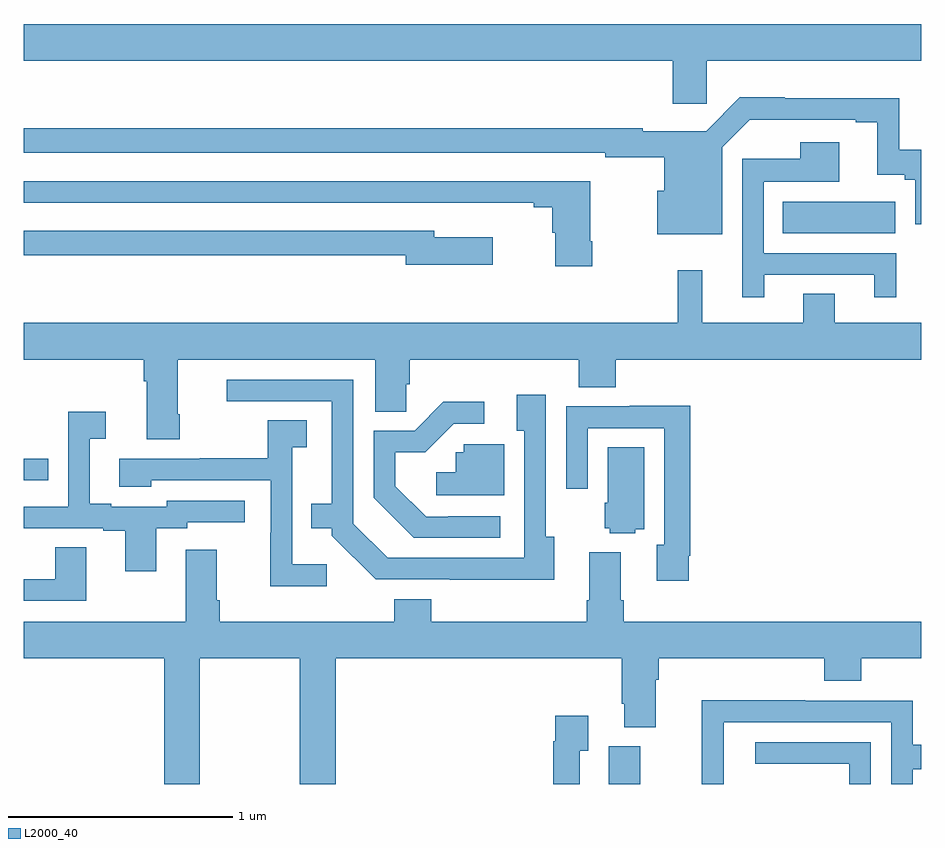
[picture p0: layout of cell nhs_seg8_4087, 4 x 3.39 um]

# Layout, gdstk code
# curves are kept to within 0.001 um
import gdstk
lib = gdstk.Library(unit=1e-6, precision=1e-09)
def R(c, l, rs):  # rectangles x0, y0, x1, y1
    for r in rs: c.add(gdstk.rectangle(r[:2], r[2:], *l))
def P(c, l, *ps):  # polygons
    for p in ps: c.add(gdstk.Polygon(p, *l))
L2000_40 = (2000, 40)

nhs_seg8_4087 = lib.new_cell('nhs_seg8_4087')
R(nhs_seg8_4087, L2000_40, [(363.608,1155.9,363.748,1156.068), (361,1157.254,361.108,1157.349), (364.384,1158.356,364.885,1158.496)])
P(nhs_seg8_4087, L2000_40, [(364.044,1159.124),(365,1159.124),(365,1159.288),(361,1159.288),(361,1159.124),(363.893,1159.124),(363.893,1158.933),(364.044,1158.933)],
  [(364.114,1158.739),(364.236,1158.861),(364.709,1158.861),(364.709,1158.849),(364.805,1158.849),(364.805,1158.617),(364.926,1158.617),(364.926,1158.593),(364.974,1158.593),(364.974,1158.396),(365,1158.396),(365,1158.727),(364.903,1158.727),(364.903,1158.958),(364.391,1158.958),(364.391,1158.961),(364.192,1158.961),(364.042,1158.811),(363.758,1158.811),(363.758,1158.823),(361,1158.823),(361,1158.714),(363.592,1158.714),(363.592,1158.694),(363.854,1158.694),(363.854,1158.544),(363.824,1158.544),(363.824,1158.35),(364.114,1158.35)],
  [(364.3,1158.171),(364.79,1158.171),(364.79,1158.069),(364.888,1158.069),(364.888,1158.267),(364.299,1158.267),(364.299,1158.584),(364.636,1158.584),(364.636,1158.76),(364.46,1158.76),(364.46,1158.688),(364.203,1158.688),(364.203,1158.069),(364.3,1158.069)],
  [(363.534,1158.319),(363.526,1158.319),(363.526,1158.588),(361,1158.588),(361,1158.492),(362.926,1158.492),(362.926,1158.491),(363.272,1158.491),(363.272,1158.472),(363.356,1158.472),(363.356,1158.357),(363.368,1158.357),(363.368,1158.207),(363.534,1158.207)],
  [(363.091,1158.337),(362.83,1158.337),(362.83,1158.366),(361,1158.366),(361,1158.258),(362.702,1158.258),(362.702,1158.215),(363.091,1158.215)],
  [(361.695,1157.548),(361.687,1157.548),(361.687,1157.792),(362.567,1157.792),(362.567,1157.56),(362.705,1157.56),(362.705,1157.682),(362.72,1157.682),(362.72,1157.792),(363.473,1157.792),(363.473,1157.668),(363.638,1157.668),(363.638,1157.792),(365,1157.792),(365,1157.956),(364.615,1157.956),(364.615,1158.086),(364.475,1158.086),(364.475,1157.956),(364.025,1157.956),(364.025,1158.19),(363.915,1158.19),(363.915,1157.956),(361,1157.956),(361,1157.792),(361.535,1157.792),(361.535,1157.696),(361.547,1157.696),(361.547,1157.436),(361.695,1157.436)],
  [(363.364,1157.002),(363.327,1157.002),(363.327,1157.635),(363.197,1157.635),(363.197,1157.474),(363.231,1157.474),(363.231,1156.908),(362.622,1156.908),(362.469,1157.061),(362.469,1157.703),(361.905,1157.703),(361.905,1157.607),(362.372,1157.607),(362.372,1157.149),(362.281,1157.149),(362.281,1157.039),(362.373,1157.039),(362.373,1157.007),(362.568,1156.812),(363.364,1156.811)],
  [(363.124,1157.094),(362.893,1157.094),(362.893,1157.091),(362.793,1157.091),(362.656,1157.228),(362.656,1157.378),(362.789,1157.378),(362.916,1157.505),(363.052,1157.505),(363.052,1157.603),(362.87,1157.603),(362.742,1157.475),(362.559,1157.475),(362.559,1157.177),(362.738,1156.998),(363.124,1156.998)],
  [(363.964,1156.918),(363.971,1156.918),(363.971,1157.587),(363.701,1157.587),(363.701,1157.583),(363.417,1157.583),(363.417,1157.217),(363.513,1157.217),(363.513,1157.487),(363.855,1157.487),(363.855,1156.967),(363.821,1156.967),(363.821,1156.806),(363.964,1156.806)],
  [(361.591,1157.04),(361.728,1157.04),(361.728,1157.067),(361.984,1157.067),(361.984,1157.163),(361.638,1157.163),(361.638,1157.136),(361.39,1157.136),(361.39,1157.149),(361.294,1157.149),(361.294,1157.44),(361.366,1157.44),(361.366,1157.56),(361.197,1157.56),(361.197,1157.136),(361,1157.136),(361,1157.04),(361.355,1157.04),(361.355,1157.028),(361.451,1157.028),(361.451,1156.848),(361.591,1156.848)],
  [(362.35,1156.879),(362.196,1156.879),(362.196,1157.401),(362.26,1157.401),(362.26,1157.522),(362.088,1157.522),(362.088,1157.352),(361.783,1157.352),(361.783,1157.349),(361.425,1157.349),(361.425,1157.225),(361.569,1157.225),(361.569,1157.253),(362.1,1157.253),(362.1,1157.021),(362.098,1157.021),(362.098,1156.781),(362.35,1156.781)],
  [(363.142,1157.415),(362.961,1157.415),(362.961,1157.379),(362.925,1157.379),(362.925,1157.29),(362.838,1157.29),(362.838,1157.187),(363.142,1157.187)],
  [(363.726,1157.036),(363.766,1157.036),(363.766,1157.402),(363.602,1157.402),(363.602,1157.154),(363.59,1157.154),(363.59,1157.04),(363.612,1157.04),(363.612,1157.018),(363.726,1157.018)],
  [(361.279,1156.955),(361.139,1156.955),(361.139,1156.812),(361,1156.812),(361,1156.716),(361.279,1156.716)],
  [(361.785,1156.46),(362.23,1156.46),(362.23,1155.9),(362.39,1155.9),(362.39,1156.46),(363.665,1156.46),(363.665,1156.258),(363.677,1156.258),(363.677,1156.153),(363.817,1156.153),(363.817,1156.364),(363.83,1156.364),(363.83,1156.46),(364.568,1156.46),(364.568,1156.361),(364.733,1156.361),(364.733,1156.46),(365,1156.46),(365,1156.624),(363.674,1156.624),(363.674,1156.72),(363.661,1156.72),(363.661,1156.933),(363.521,1156.933),(363.521,1156.72),(363.509,1156.72),(363.509,1156.624),(362.816,1156.624),(362.816,1156.723),(362.651,1156.723),(362.651,1156.624),(361.874,1156.624),(361.874,1156.72),(361.861,1156.72),(361.861,1156.945),(361.721,1156.945),(361.721,1156.624),(361,1156.624),(361,1156.46),(361.625,1156.46),(361.625,1155.9),(361.785,1155.9)],
  [(364.119,1156.176),(364.866,1156.176),(364.866,1155.9),(364.963,1155.9),(364.963,1155.966),(365,1155.966),(365,1156.074),(364.962,1156.074),(364.962,1156.272),(364.484,1156.272),(364.484,1156.274),(364.022,1156.274),(364.022,1155.97),(364.023,1155.97),(364.023,1155.9),(364.119,1155.9)],
  [(363.477,1156.048),(363.517,1156.048),(363.517,1156.204),(363.369,1156.204),(363.369,1156.091),(363.361,1156.091),(363.361,1155.9),(363.477,1155.9)],
  [(364.776,1156.086),(364.26,1156.086),(364.26,1155.99),(364.68,1155.99),(364.68,1155.9),(364.776,1155.9)])

lib.write_gds('nhs_seg8_4087.gds')
